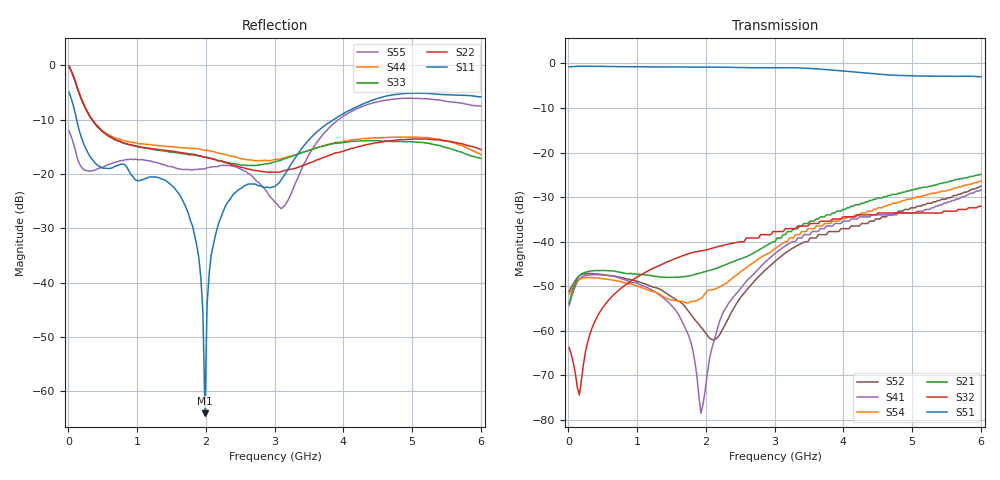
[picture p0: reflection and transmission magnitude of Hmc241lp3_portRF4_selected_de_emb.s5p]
! Hittite Microwave Corporation
! 20 Alpha Road
! Chelmsford, MA 01824
! Tel: 978-250-3343
! Fax: 978-250-3373
! Device: HMC241LP3, DC-4 GHz, High Isolation SP4T Non-Reflective Switch in leadless QFN SMT package
! Misc: Port 1 = RFCom
!  Port 2 = RF1
!  Port 3 = RF2
!  Port 4 = RF3
!  Port 5 = RF4
!  Vdd  = + 5 V
!  RF4 selected, Vctl= 0/+5 V
!  Data reformated to new Touchstone file format - Tue Jan 09 08:12:18 2007
# MHz S DB R 50
! 5 Port Network Data
! freq  dbS11  angS11  dbS12  angS12  dbS13  angS13  dbS14  angS14
!  dbS15  angS15
!  dbS21  angS21  dbS22  angS22  dbS23  angS23
!  dbS24  angS24  dbS25  angS25
!  dbS31  angS31  dbS32  angS32
!  dbS33  angS33  dbS34  angS34  dbS35  angS35
!  dbS41  angS41
!  dbS42  angS42  dbS43  angS43  dbS44  angS44  dbS45  angS45
!  dbS51  angS51  dbS52  angS52  dbS53  angS53  dbS54  angS54
!  dbS55  angS55
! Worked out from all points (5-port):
!   201 points, 10 MHz to 6 GHz, reference 50 ohm
!   strongest paths, dB at 10 MHz, 1.508 GHz, 3.005 GHz, 4.503 GHz, 6 GHz:
!     S51: -0.8, -0.8, -0.9, -2.4, -3.0
!     S32: -63.7, -44.1, -37.7, -33.6, -32.0
!     S21: -53.9, -48.0, -40.0, -30.2, -24.9
!     S54: -51.8, -53.1, -41.5, -32.4, -26.4
!     S41: -54.3, -54.5, -42.7, -34.0, -28.4
!     S52: -51.2, -52.4, -44.4, -34.9, -27.5
!   lowest |S11| = -64.0 dB at 1.987 GHz (marker M1), VSWR 1.00, Z = 50 + j0.056 ohm
!   |S11| at or under -10 dB: 119.2 MHz to 3.86 GHz (3.74 GHz wide, 188 % of centre)
